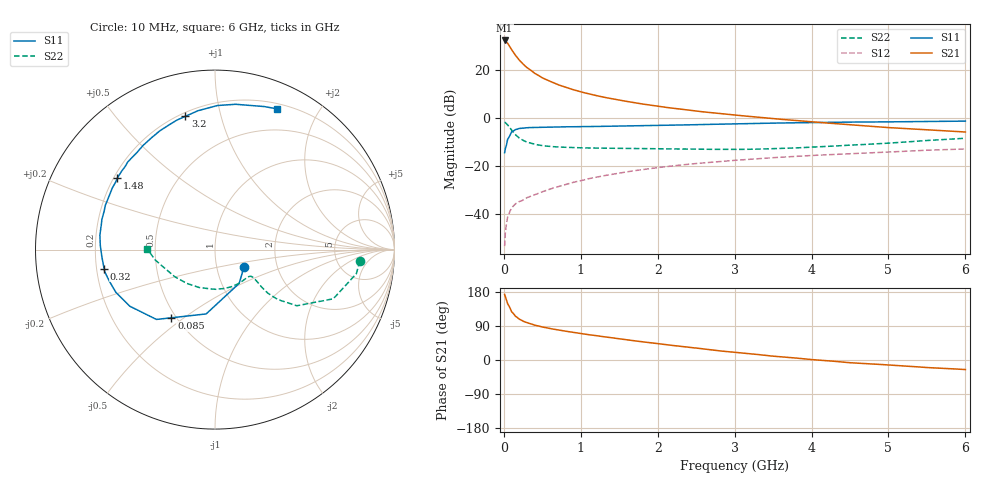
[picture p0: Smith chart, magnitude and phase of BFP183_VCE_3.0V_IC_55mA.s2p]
! Infineon Technologies  Discrete & RF Semiconductors
! BFP183
! VCE = 3.0 V,  IC =  55 mA
! Common Emitter S-Parameters:  Jan 2016
# GHz  S  MA  R  50
!  f  S11  S21  S12  S22
! GHz  MAG  ANG  MAG  ANG  MAG  ANG  MAG  ANG
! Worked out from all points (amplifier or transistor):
!   210 points, 10 MHz to 6 GHz, reference 50 ohm
!   highest |S21| = 32.3 dB at 10 MHz (marker M1)
!   |S21| within 3 dB of that: start of sweep to 84.03 MHz
!   unconditionally stable (mu >= 1): start of sweep to 20.95 MHz; 253.6 MHz to end of sweep
!   at 185 MHz: K = 0.83, MSG = 30.0 dB, |S12| = -35.2 dB
!   at 1.52 GHz: K = 1.49, MAG = 11.0 dB, |S12| = -22.9 dB
!   at 6 GHz: K = 1.15, MAG = 1.2 dB, |S12| = -13.0 dB
!   S11 on the Smith chart (normalised r, x): 10 MHz: 1.36, -0.27; 85 MHz: 0.47, -0.45; 320 MHz: 0.23, -0.08; 1.48 GHz: 0.21, +0.31; 3.2 GHz: 0.22, +0.78; 6 GHz: 0.25, +1.50
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0.01  0.1883 -30.7  41.4 173.1  0.0021 69.1  0.8093 -4.5
0.02  0.2314 -54.4  40.77 166.5  0.0041 68.9  0.7989 -9.7
0.05  0.3616 -97.8  36.14 148.1  0.0086 67.8  0.7136 -22.6
0.085  0.451 -122.6  29.14 135.2  0.0117 55.4  0.598 -30.3
0.1  0.5079 -130.0  26.75 127.7  0.0131 52.0  0.5527 -34.5
0.15  0.5699 -146.4  20.35 115.6  0.016 49.7  0.4464 -38.5
0.2  0.6014 -156.7  16.13 107.8  0.0179 49.2  0.3803 -39.5
0.26  0.6169 -164.6  12.85 101.6  0.0196 50.8  0.3341 -38.8
0.3  0.6268 -168.7  11.24 98.3  0.0216 52.2  0.3124 -38.0
0.32  0.6269 -170.3  10.7 97.3  0.0222 52.8  0.3061 -37.8
0.4  0.6319 -176.6  8.564 91.9  0.0247 54.7  0.2811 -36.7
0.5  0.6397 177.7  6.867 87.1  0.0287 56.4  0.263 -36.2
0.6  0.6464 172.8  5.81 82.9  0.0326 59.0  0.2535 -36.3
0.8  0.6523 164.9  4.374 76.0  0.0404 61.0  0.2435 -37.7
1.02  0.6589 157.4  3.432 69.3  0.0497 61.8  0.2368 -41.1
1.48  0.6738 143.9  2.383 56.5  0.0699 59.9  0.2317 -50.4
2.02  0.6939 128.9  1.731 42.7  0.0925 55.4  0.2273 -64.3
3.1  0.7559 104.5  1.109 18.4  0.1335 45.0  0.2204 -98.8
3.2  0.7606 102.6  1.071 16.5  0.137 43.9  0.2212 -102.3
4.1  0.8049 87.6  0.807 -0.3  0.1671 35.0  0.2489 -133.5
5.1  0.8295 75.1  0.615 -14.3  0.197 26.2  0.3045 -161.6
6  0.8566 66.3  0.508 -25.2  0.2248 17.0  0.3765 179.7
